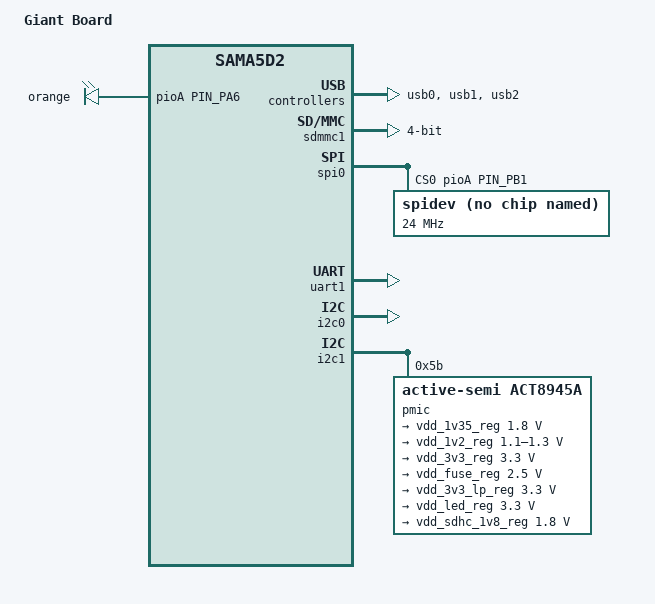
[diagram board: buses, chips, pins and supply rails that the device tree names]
/*
 * at91-sama5d27_giantboard.dts - Device Tree file for SAMA5D27 Giant Board
 *
 *  Copyright (c) 2017, Microchip Technology Inc.
 *                2016 Nicolas Ferre <nicolas.ferre@atmel.com>
 *                2017 Cristian Birsan <cristian.birsan@microchip.com>
 *                2017 Claudiu Beznea <claudiu.beznea@microchip.com>
 *
 * This file is dual-licensed: you can use it either under the terms
 * of the GPL or the X11 license, at your option. Note that this dual
 * licensing only applies to this file, and not this project as a
 * whole.
 *
 *  a) This file is free software; you can redistribute it and/or
 *     modify it under the terms of the GNU General Public License as
 *     published by the Free Software Foundation; either version 2 of the
 *     License, or (at your option) any later version.
 *
 *     This file is distributed in the hope that it will be useful,
 *     but WITHOUT ANY WARRANTY; without even the implied warranty of
 *     MERCHANTABILITY or FITNESS FOR A PARTICULAR PURPOSE.  See the
 *     GNU General Public License for more details.
 *
 * Or, alternatively,
 *
 *  b) Permission is hereby granted, free of charge, to any person
 *     obtaining a copy of this software and associated documentation
 *     files (the "Software"), to deal in the Software without
 *     restriction, including without limitation the rights to use,
 *     copy, modify, merge, publish, distribute, sublicense, and/or
 *     sell copies of the Software, and to permit persons to whom the
 *     Software is furnished to do so, subject to the following
 *     conditions:
 *
 *     The above copyright notice and this permission notice shall be
 *     included in all copies or substantial portions of the Software.
 *
 *     THE SOFTWARE IS PROVIDED "AS IS", WITHOUT WARRANTY OF ANY KIND,
 *     EXPRESS OR IMPLIED, INCLUDING BUT NOT LIMITED TO THE WARRANTIES
 *     OF MERCHANTABILITY, FITNESS FOR A PARTICULAR PURPOSE AND
 *     NONINFRINGEMENT. IN NO EVENT SHALL THE AUTHORS OR COPYRIGHT
 *     HOLDERS BE LIABLE FOR ANY CLAIM, DAMAGES OR OTHER LIABILITY,
 *     WHETHER IN AN ACTION OF CONTRACT, TORT OR OTHERWISE, ARISING
 *     FROM, OUT OF OR IN CONNECTION WITH THE SOFTWARE OR THE USE OR
 *     OTHER DEALINGS IN THE SOFTWARE.
 */
/dts-v1/;
#include "at91-sama5d27_giantboard.dtsi"
#include <dt-bindings/mfd/atmel-flexcom.h>
#include <dt-bindings/gpio/gpio.h>

/ {
	model = "Giant Board";
	compatible = "atmel,sama5d27-som1-ek", "atmel,sama5d27-som1", "atmel,sama5d27", "atmel,sama5d2", "atmel,sama5";

	chosen {
		stdout-path = "serial0:115200n8";
	};

	ahb {
	
		usb0: gadget@300000 {
			status = "okay";
		};

		usb1: ohci@400000 {
			num-ports = <3>;
			status = "okay";
		};

		usb2: ehci@500000 {
			status = "okay";
		};

		sdmmc1: sdio-host@b0000000 {
			bus-width = <4>;
			pinctrl-names = "default";
			pinctrl-0 = <&pinctrl_sdmmc1_default>;
			status = "okay";
		};

		apb {

			spi0: spi@f8000000 {
				pinctrl-names = "default";
				pinctrl-0 = <&pinctrl_spi0_default>;
				cs-gpios = <&pioA PIN_PB1 0>, <0>, <0>, <0>;
				status = "okay";

				spidev@0 {
					compatible = "linux,spidev";
					spi-max-frequency = <24000000>;
					reg = <0>;
				};
			};

			uart1: serial@f8020000 {
				pinctrl-names = "default";
				pinctrl-0 = <&pinctrl_uart1_default>;
				atmel,use-dma-rx;
				atmel,use-dma-tx;
				status = "okay";
			};

			shdwc@f8048010 {
				atmel,shdwc-debouncer = <976>;
				atmel,wakeup-rtc-timer;

				input@0 {
					reg = <0>;
					atmel,wakeup-type = "low";
				};
			};

			watchdog@f8048040 {
				status = "okay";
			};

			i2c0: i2c@f8028000 {
				dmas = <0>, <0>;
				pinctrl-names = "default";
				pinctrl-0 = <&pinctrl_i2c0_default>;
				status = "okay";
			};

			i2c1: i2c@fc028000 {
				dmas = <0>, <0>;
				pinctrl-names = "default";
				pinctrl-0 = <&pinctrl_i2c1_default>;
				i2c-sda-hold-time-ns = <350>;
				status = "okay";

				pmic@5b {
					compatible = "active-semi,act8945a";
					reg = <0x5b>;
					active-semi,vsel-low;
					status = "okay";

					regulators {
						vdd_1v35_reg: REG_DCDC1 {
							regulator-name = "VDD_1V8";
							regulator-min-microvolt = <1800000>;
							regulator-max-microvolt = <1800000>;
							regulator-always-on;
						};

						vdd_1v2_reg: REG_DCDC2 {
							regulator-name = "VDD_1V2";
							regulator-min-microvolt = <1100000>;
							regulator-max-microvolt = <1300000>;
							regulator-always-on;
						};

						vdd_3v3_reg: REG_DCDC3 {
							regulator-name = "VDD_3V3";
							regulator-min-microvolt = <3300000>;
							regulator-max-microvolt = <3300000>;
							regulator-always-on;
						};

						vdd_fuse_reg: REG_LDO1 {
							regulator-name = "VDD_FUSE";
							regulator-min-microvolt = <2500000>;
							regulator-max-microvolt = <2500000>;
							regulator-always-on;
						};

						vdd_3v3_lp_reg: REG_LDO2 {
							regulator-name = "VDD_3V3_LP";
							regulator-min-microvolt = <3300000>;
							regulator-max-microvolt = <3300000>;
							regulator-always-on;
						};

						vdd_led_reg: REG_LDO3 {
							regulator-name = "VDD_LED";
							regulator-min-microvolt = <3300000>;
							regulator-max-microvolt = <3300000>;
							regulator-always-on;
						};

						vdd_sdhc_1v8_reg: REG_LDO4 {
							regulator-name = "VDD_SDHC_1V8";
							regulator-min-microvolt = <1800000>;
							regulator-max-microvolt = <1800000>;
							regulator-always-on;
						};
					};

					charger {
						compatible = "active-semi,act8945a-charger";
						pinctrl-names = "default";
						pinctrl-0 = <&pinctrl_charger_chglev &pinctrl_charger_lbo &pinctrl_charger_irq>;
						interrupt-parent = <&pioA>;
						interrupts = <PIN_PB13 IRQ_TYPE_EDGE_RISING>;

						active-semi,chglev-gpios = <&pioA PIN_PA12 GPIO_ACTIVE_HIGH>;
						active-semi,lbo-gpios = <&pioA PIN_PC8 GPIO_ACTIVE_LOW>;
						active-semi,input-voltage-threshold-microvolt = <6600>;
						active-semi,precondition-timeout = <40>;
						active-semi,total-timeout = <3>;
						status = "okay";
					};
				};
			};

			pinctrl@fc038000 {

				pinctrl_i2c0_default: i2c0_default {
					pinmux = <PIN_PB31__TWD0>,
					<PIN_PC0__TWCK0>;
					bias-disable;
				};

				pinctrl_i2c1_default: i2c1_default {
					pinmux = <PIN_PD4__TWD1>,
					<PIN_PD5__TWCK1>;
					bias-disable;
				};

				pinctrl_led_gpio_default: led_gpio_default {
					pinmux = <PIN_PA6__GPIO>;
					bias-pull-down;
				};

				pinctrl_sdmmc1_default: sdmmc1_default {
					cmd_data {
						pinmux = <PIN_PA28__SDMMC1_CMD>,
						<PIN_PA18__SDMMC1_DAT0>,
						<PIN_PA19__SDMMC1_DAT1>,
						<PIN_PA20__SDMMC1_DAT2>,
						<PIN_PA21__SDMMC1_DAT3>;
						bias-pull-up;
					};

						conf-ck_cd {
						pinmux = <PIN_PA22__SDMMC1_CK>,
						<PIN_PA30__SDMMC1_CD>;
						bias-disable;
					};
				};

				pinctrl_spi0_default: spi0_default {
					pinmux = <PIN_PA14__SPI0_SPCK>,
					<PIN_PA15__SPI0_MOSI>,
					<PIN_PA16__SPI0_MISO>;
					bias-disable;
				};

				pinctrl_uart1_default: uart1_default {
					pinmux = <PIN_PD2__URXD1>,
					<PIN_PD3__UTXD1>;
					bias-disable;
				};

				pinctrl_charger_chglev: charger_chglev {
					pinmux = <PIN_PA12__GPIO>;
					bias-disable;
				};

				pinctrl_charger_irq: charger_irq {
					pinmux = <PIN_PB13__GPIO>;
					bias-disable;
				};

				pinctrl_charger_lbo: charger_lbo {
					pinmux = <PIN_PC8__GPIO>;
					bias-pull-up;
				};
			};
		};
	};

	leds {
		compatible = "gpio-leds";
		pinctrl-names = "default";
		pinctrl-0 = <&pinctrl_led_gpio_default>;
		status = "okay";

		orange {
			label = "orange";
			gpios = <&pioA PIN_PA6 GPIO_ACTIVE_HIGH>;
			linux,default-trigger = "mmc0";
		};
	};
};
